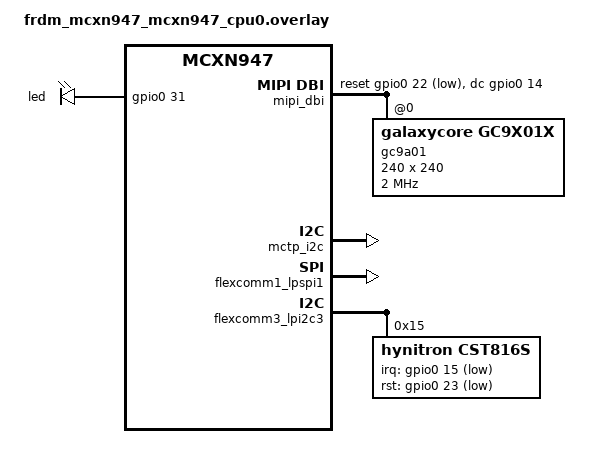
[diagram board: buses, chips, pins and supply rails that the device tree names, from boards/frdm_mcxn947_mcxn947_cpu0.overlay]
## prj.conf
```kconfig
CONFIG_LV_Z_MEM_POOL_SIZE=16384
CONFIG_MAIN_STACK_SIZE=4096

CONFIG_DISPLAY=y
CONFIG_DISPLAY_LOG_LEVEL_ERR=y

CONFIG_LOG=y

CONFIG_LVGL=y
CONFIG_LV_USE_LOG=y
CONFIG_LV_USE_LABEL=y
CONFIG_LV_USE_ARC=y
CONFIG_LV_USE_MONKEY=y
CONFIG_LV_FONT_MONTSERRAT_48=y

CONFIG_I2C=y
CONFIG_I2C_TARGET=y
CONFIG_MCTP=y
CONFIG_MCTP_I2C_GPIO_TARGET=y
CONFIG_REQUIRES_FLOAT_PRINTF=y
```

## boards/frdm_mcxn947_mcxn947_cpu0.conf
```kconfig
CONFIG_INPUT=y
CONFIG_LED=y

CONFIG_LV_COLOR_16_SWAP=y
```

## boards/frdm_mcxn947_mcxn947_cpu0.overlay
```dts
#include <zephyr/dt-bindings/display/panel.h>
#include <freq.h>

/ {

	/* VCC J3.4 */
	/* GND J3.14 */

	chosen {
		zephyr,display = &gc9a01;
		zephyr,touch = &cst816s;
	};

	mipi_dbi {
		compatible = "zephyr,mipi-dbi-spi";
		status = "okay";
		spi-dev = <&flexcomm1_lpspi1>;
		dc-gpios = <&gpio0 14 GPIO_ACTIVE_HIGH>; /* J4.6 */
		reset-gpios = <&gpio0 22 GPIO_ACTIVE_LOW>; /* J4.8 */
		#address-cells = <1>;
		#size-cells = <0>;
		write-only;

		gc9a01: gc9a01@0 {
			/* SCK J2.12 */
			/* MOSI J2.8 */
			/* MISO not used (J2.10) */
			/* CS J2.6 Buggy, connect to GND instead (J2.14) */
			compatible = "galaxycore,gc9x01x";
			reg = <0>;
			mipi-max-frequency = <DT_FREQ_M(2) >;
			pixel-format = <PANEL_PIXEL_FORMAT_RGB_565>;
			width = <240>;
			height = <240>;
			display-inversion;
		};
	};

	lvgl_pointer {
		compatible = "zephyr,lvgl-pointer-input";
		status = "okay";
		input = <&cst816s>;
	};

	lcd_backlight {
		compatible = "gpio-leds";
		status = "okay";

		led: led {
			gpios = <&gpio0 31 GPIO_ACTIVE_HIGH>; /* J1.16 */
		};
	};

	mctp_i2c: mctp_i2c {
		/* SDA J8.4 */
		/* SCL J8.3 */
		compatible = "zephyr,mctp-i2c-gpio-target";
		i2c = <&flexcomm2_lpi2c2>;
		i2c-addr = <70>;
		endpoint-id = <11>;
		/* GPIO J8.8 */
		endpoint-gpios = <&gpio0 7 GPIO_ACTIVE_HIGH>;
	};
};

&flexcomm1_lpspi1 {
	status = "okay";
};

&flexcomm3_lpi2c3 {
	status = "okay";
	/* SDA J5.6 */
	/* SCL J5.5 */
	cst816s: cst816s@15 {
		compatible = "hynitron,cst816s";
		status = "okay";
		reg = <0x15>;
		irq-gpios = <&gpio0 15 GPIO_ACTIVE_LOW>; /* J4.10 */
		rst-gpios = <&gpio0 23 GPIO_ACTIVE_LOW>; /* J4.12 */
	};
};
```

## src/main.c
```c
/*
 * Copyright (c) 2018 Jan Van Winkel <jan.van_winkel@dxplore.eu>
 *
 * SPDX-License-Identifier: Apache-2.0
 */

#include <zephyr/device.h>
#include <zephyr/devicetree.h>
#include <zephyr/drivers/display.h>
#include <zephyr/drivers/gpio.h>
#include <zephyr/drivers/led.h>
#include <lvgl.h>
#include <stdio.h>
#include <string.h>
#include <zephyr/kernel.h>
#include <lvgl_input_device.h>

#include <math.h>
#include <libmctp.h>
#include <zephyr/pmci/mctp/mctp_i2c_gpio_target.h>

#define LOG_LEVEL CONFIG_LOG_DEFAULT_LEVEL
#include <zephyr/logging/log.h>
LOG_MODULE_REGISTER(app);

MCTP_I2C_GPIO_TARGET_DT_DEFINE(mctp_i2c_ctrl, DT_NODELABEL(mctp_i2c));
#define EC_EID 20
#define LOCAL_EID mctp_i2c_ctrl.endpoint_id

struct temperature_data {
	double temperature;
	bool updated;
} __packed;
struct temperature_data temperature;
bool use_farenheit;

static void rx_message(uint8_t eid, bool tag_owner, uint8_t msg_tag, void *data, void *msg,
		       size_t len)
{

	if (eid == EC_EID) {
		temperature = *(struct temperature_data *)msg;
		LOG_INF("Controller EID message received: %.2f Up-to-date: %d", temperature.temperature,
			temperature.updated);
	} else {
		LOG_INF("received message \"%s\" from endpoint %d, msg_tag %d, len %zu - "
			"replying with \"pong\"", (char *)msg, eid,
			msg_tag, len);
	}
}

#if DT_NODE_EXISTS(DT_NODELABEL(led))
static const struct device *lcd_bl = DEVICE_DT_GET(DT_PARENT(DT_NODELABEL(led)));
#endif

static void temperature_label_click_cb(lv_event_t *e)
{
	use_farenheit = !use_farenheit;

	LOG_INF("Temperature unit changed to %s", use_farenheit ? "Farenheit" : "Celsius");
}

int main(void)
{
	char temperature_str[12] = {0};
	const struct device *display_dev;
	lv_obj_t *temperature_label;
	int ret;
	lv_obj_t *arc;
	lv_style_t style_indic, style_text;
	struct mctp *mctp_ctx;

	LOG_INF("Display EID:%d on %s\n", LOCAL_EID, CONFIG_BOARD_TARGET);

	display_dev = DEVICE_DT_GET(DT_CHOSEN(zephyr_display));
	if (!device_is_ready(display_dev)) {
		LOG_ERR("Device not ready, aborting test");
		return 0;
	}

#if DT_NODE_EXISTS(DT_NODELABEL(led))
	led_on(lcd_bl, 0);
#endif

	mctp_ctx = mctp_init();
	__ASSERT_NO_MSG(mctp_ctx != NULL);
	mctp_register_bus(mctp_ctx, &mctp_i2c_ctrl.binding, mctp_i2c_ctrl.endpoint_id);
	mctp_set_rx_all(mctp_ctx, rx_message, NULL);

	lv_style_init(&style_indic);

	arc = lv_arc_create(lv_screen_active());
	lv_obj_center(arc);
	lv_obj_add_style(arc, &style_indic, LV_PART_INDICATOR);
	lv_obj_set_size(arc, 220, 220);
	lv_obj_remove_style(arc, NULL, LV_PART_KNOB);
	lv_obj_clear_flag(arc, LV_OBJ_FLAG_CLICKABLE);

	lv_style_init(&style_text);
	lv_style_set_text_font(&style_text, &lv_font_montserrat_48);

	temperature_label = lv_label_create(lv_screen_active());
	lv_obj_add_style(temperature_label, &style_text, 0);
	lv_label_set_text(temperature_label, "--");
	lv_obj_center(temperature_label);
	lv_obj_add_flag(temperature_label, LV_OBJ_FLAG_CLICKABLE);
	lv_obj_add_event_cb(temperature_label, temperature_label_click_cb, LV_EVENT_CLICKED, NULL);

	lv_timer_handler();
	ret = display_blanking_off(display_dev);
	if (ret < 0 && ret != -ENOSYS) {
		LOG_ERR("Failed to turn blanking off (error %d)", ret);
		return 0;
	}

	while (1) {
		double temp_clamped = temperature.temperature;

		if (isnan(temp_clamped) || temp_clamped < 0.0) {
			temp_clamped = 0.0;
		} else if (temp_clamped > 100.0) {
			temp_clamped = 100.0;
		}
		if (use_farenheit) {
			double temp_f = (temperature.temperature * 9.0 / 5.0) + 32.0;
			sprintf(temperature_str, "%.2f°F", temp_f);
		} else {
			sprintf(temperature_str, "%.2f°C", temperature.temperature);
		}
		lv_label_set_text(temperature_label, temperature_str);
		lv_arc_set_value(arc, (int)temp_clamped);

		if (temperature.updated) {
			lv_style_set_text_color(&style_text, lv_color_black());
		} else {
			lv_style_set_text_color(&style_text, lv_color_hex(0x888888));
		}

		/* Varies color from blue to red proportionaly to the 0-100 count */
		lv_style_set_arc_color(&style_indic,
			lv_color_mix(
				lv_palette_main(LV_PALETTE_RED),
				lv_palette_main(LV_PALETTE_BLUE),
				(temp_clamped / 100) * (255/100)));

		lv_timer_handler();
		/* Sleep just a little to keep responsive */
		k_sleep(K_MSEC(10));
	}
}
```
